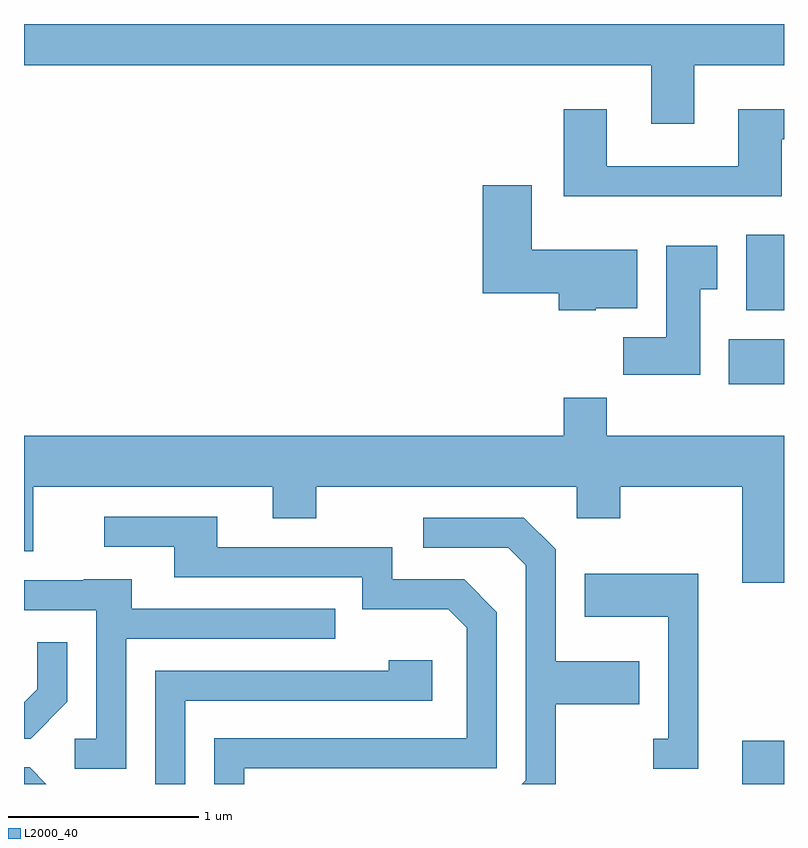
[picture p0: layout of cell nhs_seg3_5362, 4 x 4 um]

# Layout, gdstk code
import gdstk
lib = gdstk.Library(unit=1e-6, precision=1e-09)
def R(c, l, rs):  # rectangles x0, y0, x1, y1
    for r in rs: c.add(gdstk.rectangle(r[:2], r[2:], *l))
def P(c, l, *ps):  # polygons
    for p in ps: c.add(gdstk.Polygon(p, *l))
L2000_40 = (2000, 40)

nhs_seg3_5362 = lib.new_cell('nhs_seg3_5362')
R(nhs_seg3_5362, L2000_40, [(345.391,1239.892,345.611,1240.119), (345.321,1241.996,345.611,1242.234), (345.411,1242.386,345.611,1242.784)])
P(nhs_seg3_5362, L2000_40, [(345.139,1243.676),(345.611,1243.676),(345.611,1243.892),(341.611,1243.892),(341.611,1243.676),(344.911,1243.676),(344.911,1243.366),(345.139,1243.366)],
  [(345.599,1243.286),(345.611,1243.286),(345.611,1243.444),(345.371,1243.444),(345.371,1243.144),(344.679,1243.144),(344.679,1243.444),(344.451,1243.444),(344.451,1242.986),(345.599,1242.986)],
  [(344.62,1242.396),(344.839,1242.396),(344.839,1242.704),(344.284,1242.704),(344.284,1243.044),(344.026,1243.044),(344.026,1242.476),(344.426,1242.476),(344.426,1242.386),(344.62,1242.386)],
  [(345.169,1242.496),(345.259,1242.496),(345.259,1242.724),(344.991,1242.724),(344.991,1242.244),(344.766,1242.244),(344.766,1242.046),(345.169,1242.046)],
  [(345.611,1241.724),(344.679,1241.724),(344.679,1241.924),(344.451,1241.924),(344.451,1241.724),(341.611,1241.724),(341.611,1241.116),(341.659,1241.116),(341.659,1241.456),(342.921,1241.456),(342.921,1241.291),(343.149,1241.291),(343.149,1241.456),(344.521,1241.456),(344.521,1241.291),(344.749,1241.291),(344.749,1241.456),(345.391,1241.456),(345.391,1240.951),(345.611,1240.951)],
  [(342.769,1239.976),(344.099,1239.976),(344.099,1240.797),(343.927,1240.969),(343.549,1240.969),(343.549,1241.139),(342.629,1241.139),(342.629,1241.299),(342.033,1241.299),(342.033,1241.141),(342.401,1241.141),(342.401,1240.981),(343.391,1240.981),(343.391,1240.811),(343.844,1240.811),(343.941,1240.714),(343.941,1240.134),(342.611,1240.134),(342.611,1239.892),(342.769,1239.892)],
  [(344.409,1240.311),(344.849,1240.311),(344.849,1240.539),(344.409,1240.539),(344.409,1241.127),(344.242,1241.294),(343.713,1241.294),(343.713,1241.136),(344.159,1241.136),(344.251,1241.044),(344.251,1239.912),(344.231,1239.892),(344.409,1239.892)],
  [(345.159,1240.999),(344.561,1240.999),(344.561,1240.771),(345.001,1240.771),(345.001,1240.129),(344.923,1240.129),(344.923,1239.971),(345.159,1239.971)],
  [(342.149,1240.656),(343.248,1240.656),(343.248,1240.814),(342.179,1240.814),(342.179,1240.969),(341.925,1240.969),(341.925,1240.964),(341.611,1240.964),(341.611,1240.806),(341.991,1240.806),(341.991,1240.129),(341.878,1240.129),(341.878,1239.971),(342.149,1239.971)],
  [(341.839,1240.324),(341.839,1240.638),(341.681,1240.638),(341.681,1240.392),(341.611,1240.321),(341.611,1240.131),(341.647,1240.131)],
  [(342.459,1240.331),(343.759,1240.331),(343.759,1240.544),(343.531,1240.544),(343.531,1240.489),(342.301,1240.489),(342.301,1239.892),(342.459,1239.892)],
  [(341.642,1239.979),(341.611,1239.979),(341.611,1239.892),(341.729,1239.892)])

lib.write_gds('nhs_seg3_5362.gds')
